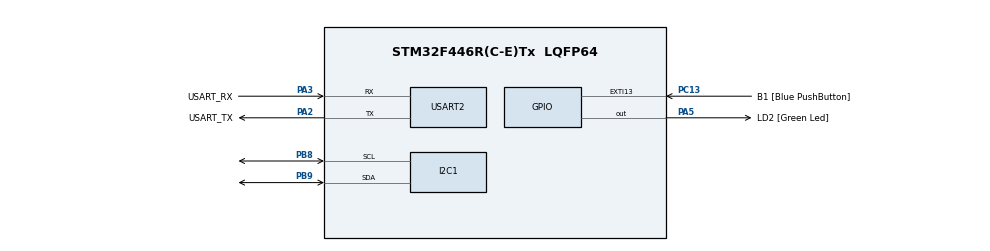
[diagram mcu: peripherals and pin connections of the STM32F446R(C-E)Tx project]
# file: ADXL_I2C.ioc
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I2C1.OwnAddress=0x53
Mcu.Family=STM32F4
Mcu.Name=STM32F446R(C-E)Tx
Mcu.Package=LQFP64
NVIC.PriorityGroup=NVIC_PRIORITYGROUP_0
PA13.GPIO_Label=TMS
PA13.Mode=Serial_Wire
PA13.Signal=SYS_JTMS-SWDIO
PA14.GPIO_Label=TCK
PA14.Mode=Serial_Wire
PA14.Signal=SYS_JTCK-SWCLK
PA2.GPIO_Label=USART_TX
PA2.Mode=Asynchronous
PA2.Signal=USART2_TX
PA3.GPIO_Label=USART_RX
PA3.Mode=Asynchronous
PA3.Signal=USART2_RX
PA5.GPIO_Label=LD2 [Green Led]
PA5.Signal=GPIO_Output
PB3.GPIO_Label=SWO
PB3.Signal=SYS_JTDO-SWO
PB8.Mode=I2C
PB8.Signal=I2C1_SCL
PB9.Mode=I2C
PB9.Signal=I2C1_SDA
PC13.GPIO_Label=B1 [Blue PushButton]
PC13.GPIO_ModeDefaultEXTI=GPIO_MODE_IT_FALLING
PC13.Signal=GPXTI13
PC14-OSC32_IN.Mode=LSE-External-Oscillator
PC14-OSC32_IN.Signal=RCC_OSC32_IN
PC15-OSC32_OUT.Mode=LSE-External-Oscillator
PC15-OSC32_OUT.Signal=RCC_OSC32_OUT
PH0-OSC_IN.Mode=HSE-External-Oscillator
PH0-OSC_IN.Signal=RCC_OSC_IN
PH1-OSC_OUT.Mode=HSE-External-Oscillator
PH1-OSC_OUT.Signal=RCC_OSC_OUT
ProjectManager.HeapSize=0x200
ProjectManager.StackSize=0x400
ProjectManager.TargetToolchain=MDK-ARM V5.32
RCC.48MHZClocksFreq_Value=84000000
RCC.AHBFreq_Value=16000000
RCC.APB1CLKDivider=RCC_HCLK_DIV2
RCC.APB1Freq_Value=8000000
RCC.APB1TimFreq_Value=16000000
RCC.APB2Freq_Value=16000000
RCC.APB2TimFreq_Value=16000000
RCC.CortexFreq_Value=16000000
RCC.FLatency-AdvancedSettings=FLASH_LATENCY_0
RCC.HCLKFreq_Value=16000000
RCC.HSE_VALUE=8000000
RCC.HSI_VALUE=16000000
RCC.PLLN=336
RCC.PLLP=RCC_PLLP_DIV4
RCC.SYSCLKFreq_VALUE=16000000
RCC.USBFreq_Value=168000000
RCC.VCOOutputFreq_Value=336000000
USART2.VirtualMode=VM_ASYNC
board=NUCLEO-F446RE

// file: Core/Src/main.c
/* USER CODE BEGIN Header */

// Nelson Dane
// Clarkson University Sophomore Spring 2022
// EE260 Embedded Systems: Special Lab 11: ADXL with I2C

/* USER CODE END Header */
#include "main.h"

/* USER CODE BEGIN Includes */

// Included for fprintf
#include <stdio.h>

// Constant for the ADXL address (CS is tied to 3.3V)
#define SLAVE_ADD 0x53

/* USER CODE END Includes */

/* USER CODE BEGIN PTD */

// Function to write character to USART2
void USART2_write (int ch) {
    while (!(USART2->SR & 0x0080)) {}   // wait until Tx buffer empty
    USART2->DR = (ch & 0xFF);
}

// Function to write string to USART2
void USART2_wr_String(char* string)
{
	for(uint8_t ch=0;string[ch] !=0;ch++)
		{
			while (!(USART2->SR & 0x0080)) {}   // wait until Tx buffer empty
			USART2->DR = (string[ch] & 0xFF);
		}
}

// Function to send a byte of data over I2C
int I2C_SendData(char saddr, char maddr, char data) {
    volatile int tmp;

    while (I2C1->SR2 & 2);                  /* wait until bus not busy */

    I2C1->CR1 |=  0x100;                    /* generate start */
    while (!(I2C1->SR1 & 1));               /* wait until start flag is set */

    I2C1->DR = saddr << 1;                  /* transmit slave address */
    while (!(I2C1->SR1 & 2));               /* wait until addr flag is set */
    tmp = I2C1->SR2;                        /* clear addr flag */

    while (!(I2C1->SR1 & 0x80));            /* wait until data register empty */
    I2C1->DR = maddr;                       /* send memory address */

    while (!(I2C1->SR1 & 0x80));            /* wait until data register empty */
    I2C1->DR = data;                        /* transmit data */

    while (!(I2C1->SR1 & 4));               /* wait until transfer finished */
    I2C1->CR1 |= 0x200;                     /* generate stop */

    return 0;
}

// Function to read a byte of data over I2C
int I2C_ReadData(char saddr, char maddr) {
    volatile int tmp;

    while (I2C1->SR2 & 2);                  /* wait until bus not busy */

    I2C1->CR1 |=  0x100;                    /* generate start */
    while (!(I2C1->SR1 & 1));               /* wait until start flag is set */

    I2C1->DR = saddr << 1;                  /* transmit slave address + Write */
    while (!(I2C1->SR1 & 2));               /* wait until addr flag is set */
    tmp = I2C1->SR2;                        /* clear addr flag */

    while (!(I2C1->SR1 & 0x80));            /* wait until data register empty */
    I2C1->DR = maddr;                       /* send memory address */

    while (!(I2C1->SR1 & 0x80));            /* wait until data register empty */

    I2C1->CR1 |= 0x100;                     /* generate restart */
    while (!(I2C1->SR1 & 1));               /* wait until start flag is set */
    I2C1->DR = saddr << 1 | 1;              /* transmit slave address + Read */

    while (!(I2C1->SR1 & 2));               /* wait until addr flag is set */
    I2C1->CR1 &= ~0x400;                    /* Disable Acknowledge */
    tmp = I2C1->SR2;                        /* clear addr flag */

    I2C1->CR1 |= 0x200;                     /* generate stop after data received */

    while (!(I2C1->SR1 & 0x40));            /* Wait until RXNE flag is set */

    return I2C1->DR;
}

// Function to initialize ADXL
void ADXL345_Init(void)
{

	I2C_SendData(SLAVE_ADD,0x2C,0x0A); // Set Data Output Rate to 100Hz (0x0A)

	I2C_SendData(SLAVE_ADD,0x2D,0x08); // Sending 0x08 to Acc 0x2D register (Measurement ON)
	LL_mDelay(5000); 						 // Arbitrary delay needed by device

	I2C_SendData(SLAVE_ADD,0x1E,0x00); // Set offset values
	I2C_SendData(SLAVE_ADD,0x1F,0x00); // Set offset values
	I2C_SendData(SLAVE_ADD,0x20,0x00); // Set offset values
}
/* USER CODE END PTD */

void SystemClock_Config(void);
static void MX_GPIO_Init(void);
static void MX_I2C1_Init(void);
static void MX_USART2_UART_Init(void);

int main(void)
{

  /* MCU Configuration--------------------------------------------------------*/

  /* Reset of all peripherals, Initializes the Flash interface and the Systick. */

  LL_APB2_GRP1_EnableClock(LL_APB2_GRP1_PERIPH_SYSCFG);
  LL_APB1_GRP1_EnableClock(LL_APB1_GRP1_PERIPH_PWR);

  NVIC_SetPriorityGrouping(NVIC_PRIORITYGROUP_0);

  /* System interrupt init*/

  /* Configure the system clock */
  SystemClock_Config();

  /* Initialize all configured peripherals */
  MX_GPIO_Init();
  MX_I2C1_Init();
  MX_USART2_UART_Init();
  /* USER CODE BEGIN 2 */

	// Enable I2C
	LL_I2C_Enable(I2C1);

	// Initialize ADXL
	ADXL345_Init();
	I2C_SendData(SLAVE_ADD,0x53,0x08);
  /* USER CODE END 2 */

  /* Infinite loop */
  /* USER CODE BEGIN WHILE */
  while (1)
  {
		// Scale factor to convert to g
		double SCALE_FACTOR = 0.0039;
		// String for output
		char output[35];
		// Variables to hold raw and final x y z data
		uint8_t reading[6];
		int16_t xraw, yraw, zraw;
		float x,y,z;
		// Start i at 0
		int i = 0;

		for(i = 0; i < 6; i++) {
					// Read raw x y z data into reading array
					reading[i] = I2C_ReadData(SLAVE_ADD,0x32 + i);
		}

			// Extract raw x y z into seperate variables
			xraw = (reading[1] << 8) + reading[0];
			yraw = (reading[3] << 8) + reading[2];
			zraw = (reading[5] << 8) + reading[4];

			// Find x y z values in terms of g by multiplying by scale factor
			x = xraw * SCALE_FACTOR;
			y = yraw * SCALE_FACTOR;
			z = zraw * SCALE_FACTOR;

			//Print final x y z values to USART2
			sprintf(output,"X: %.2fg, Y: %.2fg, Z: %.2fg \r\n",x,y,z);
			USART2_wr_String(output);
			LL_mDelay(1000);

    /* USER CODE END WHILE */

  }
}

void SystemClock_Config(void)
{
  LL_FLASH_SetLatency(LL_FLASH_LATENCY_0);
  while(LL_FLASH_GetLatency()!= LL_FLASH_LATENCY_0)
  {
  }
  LL_PWR_SetRegulVoltageScaling(LL_PWR_REGU_VOLTAGE_SCALE3);
  LL_PWR_DisableOverDriveMode();
  LL_RCC_HSI_SetCalibTrimming(16);
  LL_RCC_HSI_Enable();

   /* Wait till HSI is ready */
  while(LL_RCC_HSI_IsReady() != 1)
  {

  }
  LL_RCC_SetAHBPrescaler(LL_RCC_SYSCLK_DIV_1);
  LL_RCC_SetAPB1Prescaler(LL_RCC_APB1_DIV_2);
  LL_RCC_SetAPB2Prescaler(LL_RCC_APB2_DIV_1);
  LL_RCC_SetSysClkSource(LL_RCC_SYS_CLKSOURCE_HSI);

   /* Wait till System clock is ready */
  while(LL_RCC_GetSysClkSource() != LL_RCC_SYS_CLKSOURCE_STATUS_HSI)
  {

  }
  LL_Init1msTick(16000000);
  LL_SetSystemCoreClock(16000000);
  LL_RCC_SetTIMPrescaler(LL_RCC_TIM_PRESCALER_TWICE);
}

static void MX_I2C1_Init(void)
{

  LL_I2C_InitTypeDef I2C_InitStruct = {0};

  LL_GPIO_InitTypeDef GPIO_InitStruct = {0};

  LL_AHB1_GRP1_EnableClock(LL_AHB1_GRP1_PERIPH_GPIOB);
  /**I2C1 GPIO Configuration
  PB8   ------> I2C1_SCL
  PB9   ------> I2C1_SDA
  */
  GPIO_InitStruct.Pin = LL_GPIO_PIN_8|LL_GPIO_PIN_9;
  GPIO_InitStruct.Mode = LL_GPIO_MODE_ALTERNATE;
  GPIO_InitStruct.Speed = LL_GPIO_SPEED_FREQ_VERY_HIGH;
  GPIO_InitStruct.OutputType = LL_GPIO_OUTPUT_OPENDRAIN;
  GPIO_InitStruct.Pull = LL_GPIO_PULL_NO;
  GPIO_InitStruct.Alternate = LL_GPIO_AF_4;
  LL_GPIO_Init(GPIOB, &GPIO_InitStruct);

  /* Peripheral clock enable */
  LL_APB1_GRP1_EnableClock(LL_APB1_GRP1_PERIPH_I2C1);

  /** I2C Initialization
  */
  LL_I2C_DisableOwnAddress2(I2C1);
  LL_I2C_DisableGeneralCall(I2C1);
  LL_I2C_EnableClockStretching(I2C1);
  I2C_InitStruct.PeripheralMode = LL_I2C_MODE_I2C;
  I2C_InitStruct.ClockSpeed = 100000;
  I2C_InitStruct.DutyCycle = LL_I2C_DUTYCYCLE_2;
  I2C_InitStruct.OwnAddress1 = 166;
  I2C_InitStruct.TypeAcknowledge = LL_I2C_ACK;
  I2C_InitStruct.OwnAddrSize = LL_I2C_OWNADDRESS1_7BIT;
  LL_I2C_Init(I2C1, &I2C_InitStruct);
  LL_I2C_SetOwnAddress2(I2C1, 0);

}

static void MX_USART2_UART_Init(void)
{

  LL_USART_InitTypeDef USART_InitStruct = {0};

  LL_GPIO_InitTypeDef GPIO_InitStruct = {0};

  /* Peripheral clock enable */
  LL_APB1_GRP1_EnableClock(LL_APB1_GRP1_PERIPH_USART2);

  LL_AHB1_GRP1_EnableClock(LL_AHB1_GRP1_PERIPH_GPIOA);
  /**USART2 GPIO Configuration
  PA2   ------> USART2_TX
  PA3   ------> USART2_RX
  */
  GPIO_InitStruct.Pin = USART_TX_Pin|USART_RX_Pin;
  GPIO_InitStruct.Mode = LL_GPIO_MODE_ALTERNATE;
  GPIO_InitStruct.Speed = LL_GPIO_SPEED_FREQ_VERY_HIGH;
  GPIO_InitStruct.OutputType = LL_GPIO_OUTPUT_PUSHPULL;
  GPIO_InitStruct.Pull = LL_GPIO_PULL_NO;
  GPIO_InitStruct.Alternate = LL_GPIO_AF_7;
  LL_GPIO_Init(GPIOA, &GPIO_InitStruct);

  USART_InitStruct.BaudRate = 115200;
  USART_InitStruct.DataWidth = LL_USART_DATAWIDTH_8B;
  USART_InitStruct.StopBits = LL_USART_STOPBITS_1;
  USART_InitStruct.Parity = LL_USART_PARITY_NONE;
  USART_InitStruct.TransferDirection = LL_USART_DIRECTION_TX_RX;
  USART_InitStruct.HardwareFlowControl = LL_USART_HWCONTROL_NONE;
  USART_InitStruct.OverSampling = LL_USART_OVERSAMPLING_16;
  LL_USART_Init(USART2, &USART_InitStruct);
  LL_USART_ConfigAsyncMode(USART2);
  LL_USART_Enable(USART2);

}

static void MX_GPIO_Init(void)
{
  LL_EXTI_InitTypeDef EXTI_InitStruct = {0};
  LL_GPIO_InitTypeDef GPIO_InitStruct = {0};

  /* GPIO Ports Clock Enable */
  LL_AHB1_GRP1_EnableClock(LL_AHB1_GRP1_PERIPH_GPIOC);
  LL_AHB1_GRP1_EnableClock(LL_AHB1_GRP1_PERIPH_GPIOH);
  LL_AHB1_GRP1_EnableClock(LL_AHB1_GRP1_PERIPH_GPIOA);
  LL_AHB1_GRP1_EnableClock(LL_AHB1_GRP1_PERIPH_GPIOB);

  /**/
  LL_GPIO_ResetOutputPin(LD2_GPIO_Port, LD2_Pin);

  /**/
  LL_SYSCFG_SetEXTISource(LL_SYSCFG_EXTI_PORTC, LL_SYSCFG_EXTI_LINE13);

  /**/
  EXTI_InitStruct.Line_0_31 = LL_EXTI_LINE_13;
  EXTI_InitStruct.LineCommand = ENABLE;
  EXTI_InitStruct.Mode = LL_EXTI_MODE_IT;
  EXTI_InitStruct.Trigger = LL_EXTI_TRIGGER_FALLING;
  LL_EXTI_Init(&EXTI_InitStruct);

  /**/
  LL_GPIO_SetPinPull(B1_GPIO_Port, B1_Pin, LL_GPIO_PULL_NO);

  /**/
  LL_GPIO_SetPinMode(B1_GPIO_Port, B1_Pin, LL_GPIO_MODE_INPUT);

  /**/
  GPIO_InitStruct.Pin = LD2_Pin;
  GPIO_InitStruct.Mode = LL_GPIO_MODE_OUTPUT;
  GPIO_InitStruct.Speed = LL_GPIO_SPEED_FREQ_LOW;
  GPIO_InitStruct.OutputType = LL_GPIO_OUTPUT_PUSHPULL;
  GPIO_InitStruct.Pull = LL_GPIO_PULL_NO;
  LL_GPIO_Init(LD2_GPIO_Port, &GPIO_InitStruct);

}

void Error_Handler(void)
{
  __disable_irq();
  while (1)
  {
  }
}
